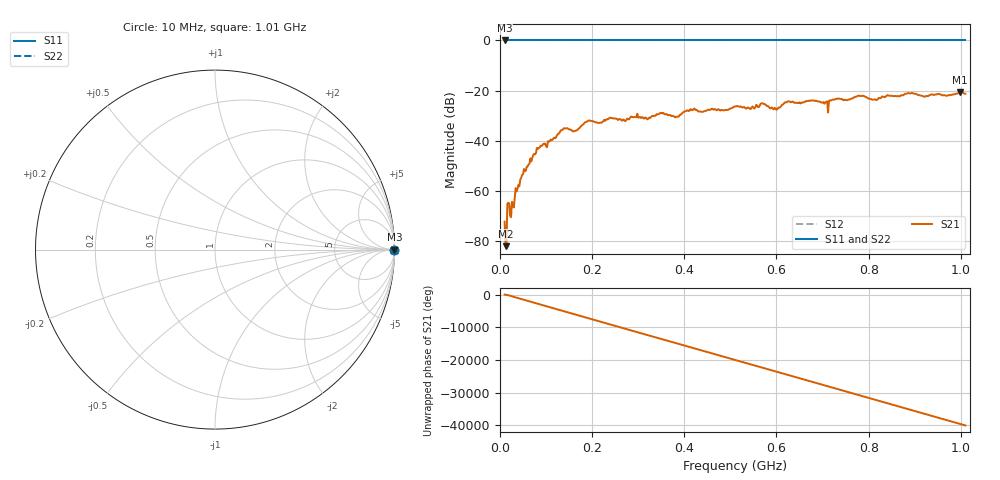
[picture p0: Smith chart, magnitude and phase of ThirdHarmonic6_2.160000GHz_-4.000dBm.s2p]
! 8/17/2025 1:46:50 AM
! C:\ANRITSUVNA\TEMP\TEMP.S2P
! CHANNEL.1
! TR.MEASUREMENT
! RAW.DATA
! RF.CORRECTION.OFF
! AVERAGING.OFF
! IF.BANDWIDTH: 5KHZ
! SWEEPTYPE:  FREQ.SWEEP(Linear)
! Reference Plane Port Info
! PORT:  PORT1  PORT2
! DISTANCE:  0  m  0  m
! TIME:  0  s  0  s
! PHASE.OFFSET:  0  deg.  0  deg.
! LOSS:  0  dB  0  dB
! REF.LOSS:  0  dB  0  dB
! REF.FREQ:  0  Hz  0  Hz
! Power Info
! POWER:  -20  dBm  -20  dBm
! EFF.POWER:  -20  dBm  -20  dBm
! SOURCE.ATTEN:  0  dB  0  dB
! TEST.ATTEN:  0  dB  0  dB
# GHZ S RI R 50.0
! FREQ.GHZ  S11RE  S11IM  S21RE  S21IM  S12RE  S12IM  S22RE  S22IM
!; PortSelection: Port_12
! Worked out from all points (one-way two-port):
!   501 points, 10 MHz to 1.01 GHz, reference 50 ohm
!   highest |S21| = -20.67 dB at 998 MHz (marker M1); lowest = -82.2 dB at 12 MHz (marker M2)
!   lowest |S11| = 0.0 dB at 10 MHz (marker M3)
!   |S11| at or under -10 dB: nowhere
!   |S22| runs from 0.0 to 0.0 dB; largest |S21 - S12| = 1.1
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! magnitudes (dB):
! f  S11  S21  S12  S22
! 10 MHz  0.0  -72.4  0.0  0.0
! 12 MHz  0.0  -82.2  0.0  0.0
! 20 MHz  0.0  -65.0  0.0  0.0
! 26 MHz  0.0  -64.4  0.0  0.0
! 48 MHz  0.0  -53.8  0.0  0.0
! 84 MHz  0.0  -43.0  0.0  0.0
! 136 MHz  0.0  -35.6  0.0  0.0
! 162 MHz  0.0  -36.2  0.0  0.0
! 178 MHz  0.0  -33.8  0.0  0.0
! 344 MHz  0.0  -29.5  0.0  0.0
! 384 MHz  0.0  -30.5  0.0  0.0
! 418 MHz  0.0  -27.8  0.0  0.0
! 510 MHz  0.0  -26.4  0.0  0.0
! 570 MHz  0.0  -25.1  0.0  0.0
! 598 MHz  0.0  -27.3  0.0  0.0
! 622 MHz  0.0  -24.7  0.0  0.0
! 678 MHz  0.0  -24.0  0.0  0.0
! 708 MHz  0.0  -24.5  0.0  0.0
! 732 MHz  0.0  -23.3  0.0  0.0
! 844 MHz  0.0  -22.0  0.0  0.0
! 998 MHz  0.0  -20.7  0.0  0.0
! 1.01 GHz  0.0  -21.3  0.0  0.0
